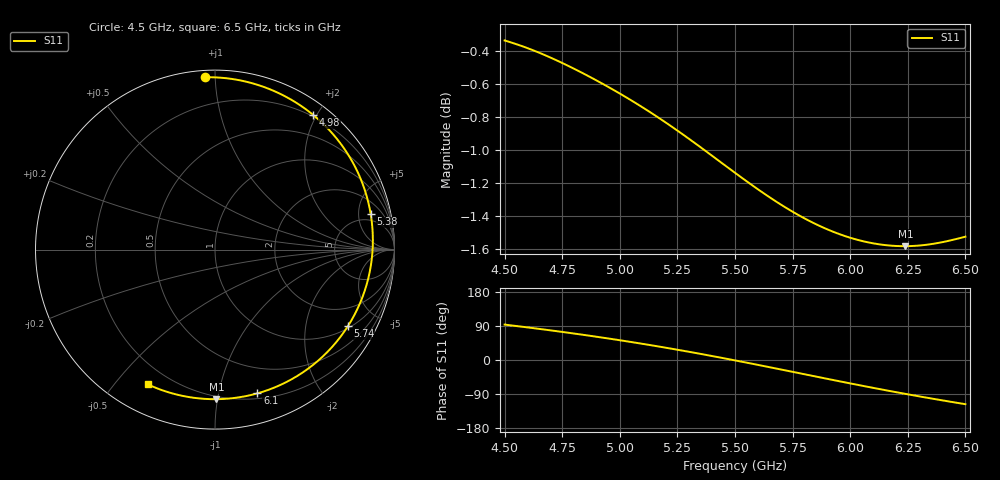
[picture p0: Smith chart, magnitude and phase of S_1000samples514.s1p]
! TOUCHSTONE file generated by CST MICROWAVE STUDIO
! Date and time: Fri Oct 28 10:34:10 2022
! Project name: L.cst
! Parameters = {Di=1.27; Epsilon_r=1.56; InnerDiameter=1.27; Length=2; Lf=10; Lg=60; OuterConductorThickness=0.2921; OuterDiameter=3.6; Wf=3; Wp=41.2; de=1.5; df=6.8; g=0.8; gx=4.95408; gy=2.39708; h=2.34; hf=1.524; px=10.6525; py=8.61776; w=9.7; wx=5.69843; wy=6.22067}
! Header version: 2018
! Port assignment regex: !\s*Touchstone port\s*([0-9]+)\s*=\s*(CST MWS port|CST DS port)\s*([0-9]+|Zmin|Zmax)\s*\(\"(.*)\"\)(\s*mode\s*([0-9]+))?.*
! Touchstone port assignment:
! Touchstone port 1 = CST MWS port 1 ("")
# GHz S DB R 50
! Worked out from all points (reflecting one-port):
!   101 points, 4.5 GHz to 6.5 GHz, reference 50 ohm
!   lowest |S11| = -1.6 dB at 6.24 GHz (marker M1), VSWR 11.01, Z = 9.1 - j49.6 ohm
!   phase of S11 starts at 93 deg and turns -210 deg over the sweep
!   S11 on the Smith chart (normalised r, x): 4.5 GHz: 0.04, +0.94; 4.98 GHz: 0.18, +1.95; 5.38 GHz: 3.70, +6.99; 5.74 GHz: 1.08, -3.42; 6.1 GHz: 0.25, -1.31; 6.5 GHz: 0.12, -0.61
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4.5  -0.34 93.4
4.64  -0.41 82.9
4.76  -0.48 73.3
4.88  -0.57 63.0
4.98  -0.64 54.0
5  -0.66 52.1
5.12  -0.76 40.5
5.2  -0.84 32.4
5.26  -0.89 26.0
5.32  -0.95 19.5
5.38  -1.01 12.8
5.44  -1.08 6.0
5.5  -1.14 -1.0
5.56  -1.20 -8.2
5.62  -1.26 -15.4
5.68  -1.31 -22.7
5.74  -1.37 -30.0
5.76  -1.38 -32.5
5.82  -1.43 -39.8
5.88  -1.47 -47.2
5.94  -1.50 -54.5
6  -1.53 -61.7
6.1  -1.57 -73.6
6.16  -1.58 -80.5
6.24  -1.58 -89.5
6.26  -1.58 -91.7
6.38  -1.56 -104.5
6.5  -1.53 -116.6
